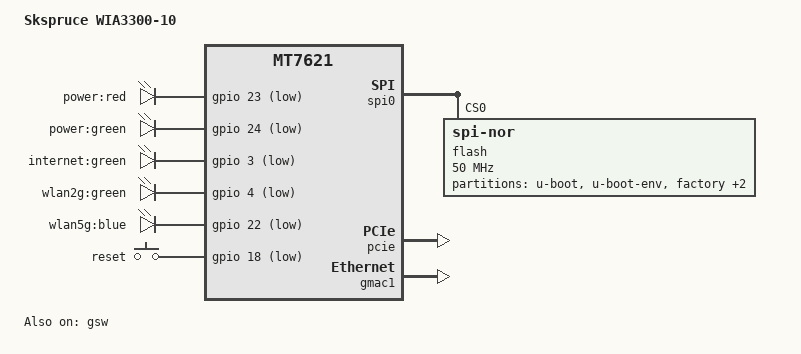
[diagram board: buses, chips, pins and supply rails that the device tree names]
#include "mt7621.dtsi"

#include <dt-bindings/gpio/gpio.h>
#include <dt-bindings/input/input.h>

/ {
	compatible = "skspruce,wia3300-10", "mediatek,mt7621-soc";
	model = "Skspruce WIA3300-10";

	aliases {
		led-boot = &led_power_boot;
                led-failsafe = &led_power_boot;
                led-running = &led_power_sys;
                led-upgrade = &led_power_boot;
	};

	chosen {
                bootargs = "console=ttyS0,115200";
        };

	leds {
		compatible = "gpio-leds";

		led_power_boot: power-red {
                        label = "power:red";
                        gpios = <&gpio 23 GPIO_ACTIVE_LOW>;
                };

                led_power_sys: power-green {
                        label = "power:green";
                        gpios = <&gpio 24 GPIO_ACTIVE_LOW>;
                };

                internet-green {
                        label = "internet:green";
                        gpios = <&gpio 3 GPIO_ACTIVE_LOW>;
                };

                wlan2g {
                        label = "wlan2g:green";
                        gpios = <&gpio 4 GPIO_ACTIVE_LOW>;
                };

                wlan5g {
                        label = "wlan5g:blue";
                        gpios = <&gpio 22 GPIO_ACTIVE_LOW>;
                };
	};

	keys {
		compatible = "gpio-keys";

		reset {
			label = "reset";
			gpios = <&gpio 18 GPIO_ACTIVE_LOW>;
			linux,code = <KEY_RESTART>;
		};
	};
};

&spi0 {
	status = "okay";

	flash@0 {
		compatible = "jedec,spi-nor";
		reg = <0>;
		spi-max-frequency = <50000000>;

		partitions {
			compatible = "fixed-partitions";
			#address-cells = <1>;
			#size-cells = <1>;

			partition@0 {
				label = "u-boot";
				reg = <0x0 0x30000>;
				read-only;
			};

			partition@30000 {
				label = "u-boot-env";
				reg = <0x30000 0x10000>;
				read-only;
			};

			factory: partition@40000 {
				label = "factory";
				reg = <0x40000 0x10000>;
				read-only;
			};

			partition@50000 {
				label = "permanent_config";
				reg = <0x50000 0x50000>;
				read-only;
			};

			partition@a0000 {
				compatible = "denx,uimage";
				label = "firmware";
				reg = <0xa0000 0x1f60000>;
			};
		};
	};
};

&pcie {
	status = "okay";
};

&pcie0 {
	mt76@0,0 {
		reg = <0x0000 0 0 0 0>;
		mediatek,mtd-eeprom = <&factory 0x0>;
	};
};

&gmac0 {
	mtd-mac-address = <&factory 0xe000>;
};

&gmac1 {
	mtd-mac-address = <&factory 0xe006>;
	status = "okay";
};

&gsw {
	mediatek,portmap = "wllll";
	status = "okay";
};

&hnat {
	mtketh-wan = "eth1";
	mtketh-ppd = "eth0";
	mtketh-lan = "eth0";
	mtketh-max-gmac = <2>;
	/delete-property/ mtkdsa-wan-port;
};

&switch0 {
	status = "disabled";
};

&state_default {
	gpio {
		groups = "i2c", "jtag";
		function = "gpio";
	};
};
